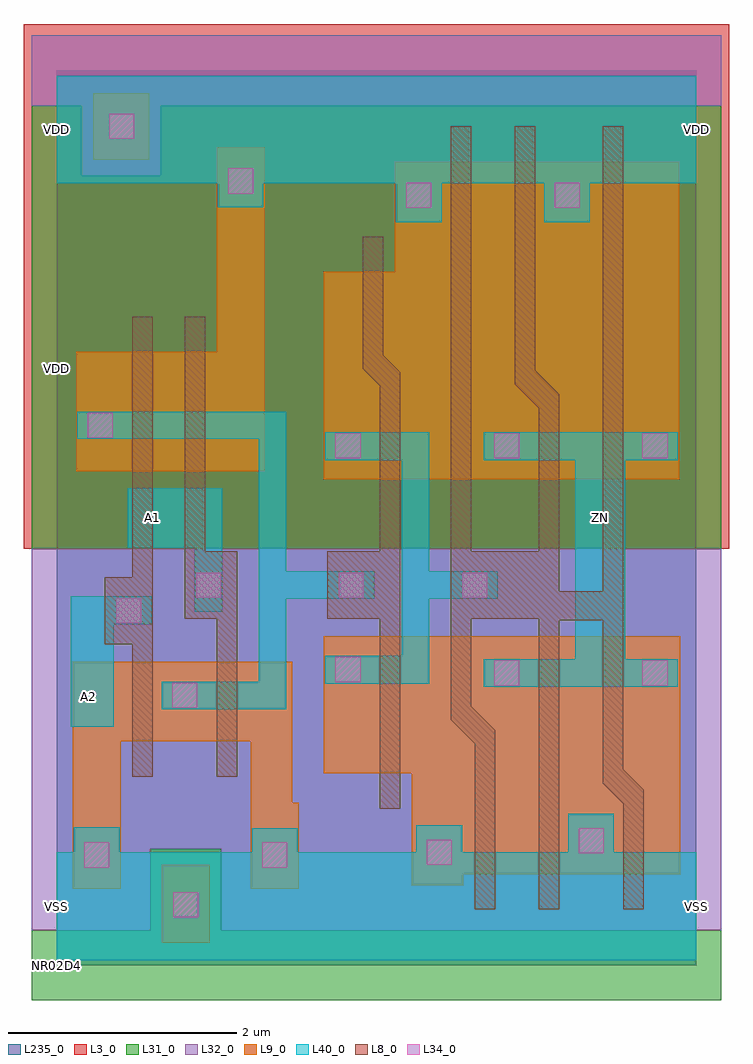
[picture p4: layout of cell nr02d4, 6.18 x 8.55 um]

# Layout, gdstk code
import gdstk
lib = gdstk.Library(unit=1e-6, precision=1e-09)
def R(c, l, rs):  # rectangles x0, y0, x1, y1
    for r in rs: c.add(gdstk.rectangle(r[:2], r[2:], *l))
def P(c, l, *ps):  # polygons
    for p in ps: c.add(gdstk.Polygon(p, *l))
L3_0 = (3, 0)
L8_0 = (8, 0)
L9_0 = (9, 0)
L31_0 = (31, 0)
L32_0 = (32, 0)
L34_0 = (34, 0)
L40_0 = (40, 0)
L235_0 = (235, 0)

nr02d4 = lib.new_cell('nr02d4')
R(nr02d4, L3_0, [(-0.29,3.65,5.89,8.245)])
P(nr02d4, L8_0, [(3.84,2.06),(3.63,2.27),(3.63,3.035),(4.22,3.035),(4.22,0.49),(4.4,0.49),(4.4,3.02),(4.78,3.02),(4.78,1.595),(4.96,1.415),(4.96,0.49),(5.14,0.49),(5.14,1.535),(4.96,1.715),(4.96,7.35),(4.78,7.35),(4.78,3.275),(4.4,3.275),(4.4,5),(4.19,5.21),(4.19,7.35),(4.01,7.35),(4.01,5.09),(4.22,4.88),(4.22,3.625),(3.63,3.625),(3.63,7.35),(3.45,7.35),(3.45,2.15),(3.66,1.94),(3.66,0.49),(3.84,0.49)],
  [(3.01,5.195),(2.86,5.345),(2.86,6.38),(2.68,6.38),(2.68,5.225),(2.83,5.075),(2.83,3.625),(2.37,3.625),(2.37,3.035),(2.83,3.035),(2.83,1.37),(3.01,1.37)],
  [(1.58,3.625),(1.3,3.625),(1.3,5.68),(1.12,5.68),(1.12,3.035),(1.4,3.035),(1.4,1.65),(1.58,1.65)],
  [(0.84,5.68),(0.66,5.68),(0.66,3.4),(0.42,3.4),(0.42,2.81),(0.66,2.81),(0.66,1.65),(0.84,1.65)])
R(nr02d4, L9_0, [(0.92,0.195,1.34,0.88), (0.32,7.055,0.81,7.64)])
P(nr02d4, L9_0, [(2.06,2.66),(2.06,1.425),(2.12,1.425),(2.12,0.67),(1.7,0.67),(1.7,1.96),(0.56,1.96),(0.56,0.67),(0.14,0.67),(0.14,2.66)],
  [(5.46,2.88),(5.46,0.795),(3.56,0.795),(3.56,0.7),(3.11,0.7),(3.11,1.68),(2.34,1.68),(2.34,2.88)],
  [(5.45,7.04),(5.45,4.255),(2.34,4.255),(2.34,6.075),(2.96,6.075),(2.96,7.04)],
  [(1.82,7.165),(1.82,4.325),(0.17,4.325),(0.17,5.375),(1.4,5.375),(1.4,7.165)])
P(nr02d4, L31_0, [(1.44,1.02),(1.44,0.305),(5.82,0.305),(5.82,-0.305),(-0.22,-0.305),(-0.22,0.305),(0.82,0.305),(0.82,1.02)],
  [(5.82,7.53),(5.82,3.65),(-0.22,3.65),(-0.22,7.53),(0.22,7.53),(0.22,6.915),(0.91,6.915),(0.91,7.53)])
P(nr02d4, L32_0, [(5.82,3.65),(5.82,0.305),(1.44,0.305),(1.44,1.02),(0.82,1.02),(0.82,0.305),(-0.22,0.305),(-0.22,3.65)],
  [(5.82,8.145),(5.82,7.53),(0.91,7.53),(0.91,6.915),(0.22,6.915),(0.22,7.53),(-0.22,7.53),(-0.22,8.145)])
R(nr02d4, L34_0, [(1.02,0.42,1.24,0.64), (0.24,0.855,0.46,1.075), (1.8,0.855,2.02,1.075), (3.24,0.88,3.46,1.1), (4.57,0.98,4.79,1.2), (1.01,2.255,1.23,2.475), (3.83,2.45,4.05,2.67), (5.13,2.45,5.35,2.67), (2.44,2.48,2.66,2.7), (0.52,2.995,0.74,3.215), (1.22,3.22,1.44,3.44), (2.47,3.22,2.69,3.44), (3.55,3.22,3.77,3.44), (2.44,4.44,2.66,4.66), (3.83,4.44,4.05,4.66), (5.13,4.44,5.35,4.66), (0.27,4.62,0.49,4.84), (3.06,6.635,3.28,6.855), (4.36,6.635,4.58,6.855), (1.5,6.76,1.72,6.98), (0.46,7.24,0.68,7.46)])
P(nr02d4, L40_0, [(0,6.85),(1.41,6.85),(1.41,6.64),(1.81,6.64),(1.81,6.85),(2.97,6.85),(2.97,6.51),(3.37,6.51),(3.37,6.85),(4.27,6.85),(4.27,6.51),(4.67,6.51),(4.67,6.85),(5.6,6.85),(5.6,7.79),(0,7.79)],
  [(0.62,3.655),(1.21,3.655),(1.21,3.095),(1.45,3.095),(1.45,4.18),(0.62,4.18)],
  [(0.18,4.85),(0.18,4.61),(1.77,4.61),(1.77,2.485),(0.92,2.485),(0.92,2.24),(2.01,2.24),(2.01,3.21),(2.78,3.21),(2.78,3.45),(2.01,3.45),(2.01,4.85)],
  [(2.35,4.67),(2.35,4.425),(3.02,4.425),(3.02,2.71),(2.35,2.71),(2.35,2.465),(3.26,2.465),(3.26,3.21),(3.86,3.21),(3.86,3.45),(3.26,3.45),(3.26,4.67)],
  [(0.12,2.09),(0.5,2.09),(0.5,2.985),(0.83,2.985),(0.83,3.23),(0.12,3.23)],
  [(5.44,4.425),(5.44,4.67),(3.74,4.67),(3.74,4.425),(4.54,4.425),(4.54,2.68),(3.74,2.68),(3.74,2.44),(5.44,2.44),(5.44,2.68),(4.98,2.68),(4.98,4.425)],
  [(4.48,1.325),(4.48,0.99),(3.55,0.99),(3.55,1.225),(3.15,1.225),(3.15,0.99),(2.11,0.99),(2.11,1.2),(1.71,1.2),(1.71,0.99),(0.55,0.99),(0.55,1.21),(0.15,1.21),(0.15,0.99),(0,0.99),(0,0.045),(5.6,0.045),(5.6,0.99),(4.88,0.99),(4.88,1.325)])
R(nr02d4, L235_0, [(0,0,5.6,7.84)])
nr02d4.add(gdstk.Label('VDD', (0,5.23), layer=40, texttype=7))
nr02d4.add(gdstk.Label('VDD', (0,5.23), layer=40, texttype=7))
nr02d4.add(gdstk.Label('VDD', (0,5.23), layer=40, texttype=7))
nr02d4.add(gdstk.Label('VDD', (0,5.23), layer=40, texttype=7))
nr02d4.add(gdstk.Label('VDD', (0,5.23), layer=40, texttype=7))
nr02d4.add(gdstk.Label('Copyright (c) 2003, 2004 Synopsys, Inc.', (0,-2.24), layer=96, texttype=0))
nr02d4.add(gdstk.Label('DT. 10-Sep-2002 16:43:49', (0,-1.68), layer=96, texttype=0))
nr02d4.add(gdstk.Label('Rev. 1', (0,-1.12), layer=96, texttype=0))
nr02d4.add(gdstk.Label('2-INPUT NOR, 4X DRIVE', (0,-0.56), layer=96, texttype=0))
nr02d4.add(gdstk.Label('NR02D4', (0,0), layer=96, texttype=0))
nr02d4.add(gdstk.Label('ZN', (4.76,3.92), layer=40, texttype=7))
nr02d4.add(gdstk.Label('A2', (0.28,2.35), layer=40, texttype=7))
nr02d4.add(gdstk.Label('A1', (0.84,3.92), layer=40, texttype=7))
nr02d4.add(gdstk.Label('VSS', (5.6,0.515), layer=40, texttype=7))
nr02d4.add(gdstk.Label('VDD', (5.6,7.32), layer=40, texttype=7))
nr02d4.add(gdstk.Label('VSS', (0,0.515), layer=40, texttype=7))
nr02d4.add(gdstk.Label('VDD', (0,7.32), layer=40, texttype=7))

lib.write_gds('nr02d4.gds')
